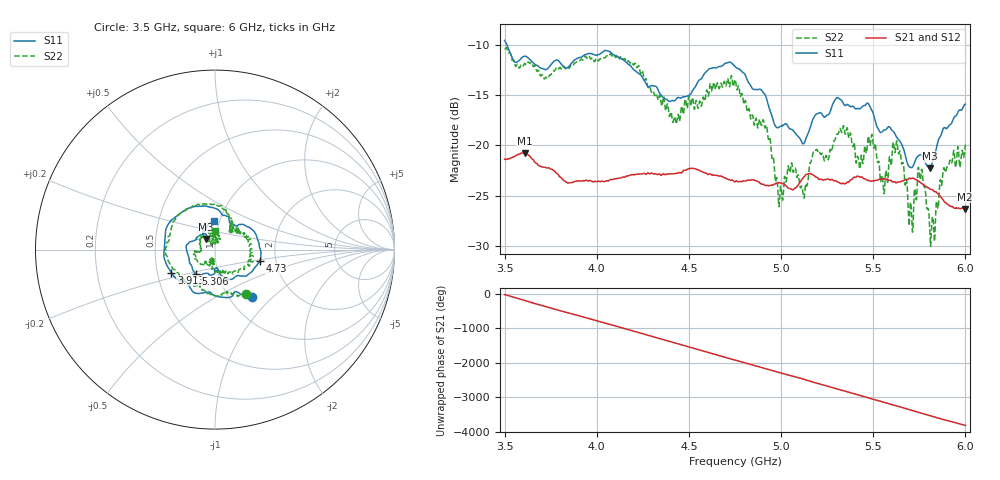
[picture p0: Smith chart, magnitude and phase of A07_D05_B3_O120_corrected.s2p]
! Created with skrf 1.9.0 (http://scikit-rf.org).
# Hz S RI R 50.0
!freq ReS11 ImS11 ReS21 ImS21 ReS12 ImS12 ReS22 ImS22
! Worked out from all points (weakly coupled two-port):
!   1601 points, 3.5 GHz to 6 GHz, reference 50 ohm
!   highest |S21| = -20.75 dB at 3.609 GHz (marker M1); lowest = -26.3 dB at 5.995 GHz (marker M2)
!   lowest |S11| = -22.3 dB at 5.806 GHz (marker M3), VSWR 1.17, Z = 45 + j5.39 ohm
!   |S11| at or under -10 dB: 3.512 GHz to end of sweep
!   |S22| runs from -30.0 to -10.3 dB; largest |S21 - S12| = 0.0011
!   S11 on the Smith chart (normalised r, x): 3.5 GHz: 1.27, -0.75; 3.913 GHz: 0.59, -0.16; 4.73 GHz: 1.65, -0.22; 5.306 GHz: 0.78, -0.22; 6 GHz: 0.93, +0.31
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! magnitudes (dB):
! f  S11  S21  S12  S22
! 3.5 GHz  -9.5  -21.4  -21.4  -10.3
! 3.609 GHz  -11.1  -20.8  -20.8  -11.8
! 3.913 GHz  -11.2  -23.5  -23.5  -11.5
! 3.917 GHz  -11.2  -23.6  -23.5  -11.4
! 4.334 GHz  -14.5  -22.9  -22.8  -15.5
! 4.423 GHz  -15.5  -22.8  -22.8  -17.2
! 4.73 GHz  -11.8  -23.5  -23.4  -13.1
! 4.75 GHz  -12.1  -23.6  -23.6  -13.5
! 4.912 GHz  -14.9  -24.0  -23.9  -18.3
! 4.997 GHz  -18.1  -23.7  -23.7  -24.1
! 5.048 GHz  -18.4  -24.3  -24.3  -22.7
! 5.13 GHz  -19.6  -23.0  -23.0  -24.4
! 5.167 GHz  -17.7  -22.9  -22.9  -21.3
! 5.306 GHz  -15.2  -23.7  -23.6  -18.9
! 5.584 GHz  -18.1  -23.5  -23.4  -21.9
! 5.636 GHz  -19.4  -23.6  -23.6  -20.7
! 5.705 GHz  -22.2  -23.3  -23.3  -25.9
! 5.755 GHz  -20.9  -23.7  -23.7  -23.4
! 5.806 GHz  -22.3  -24.3  -24.3  -28.5
! 5.889 GHz  -18.2  -25.7  -25.7  -22.6
! 5.995 GHz  -15.9  -26.3  -26.2  -20.7
! 6 GHz  -15.9  -26.3  -26.3  -19.9
